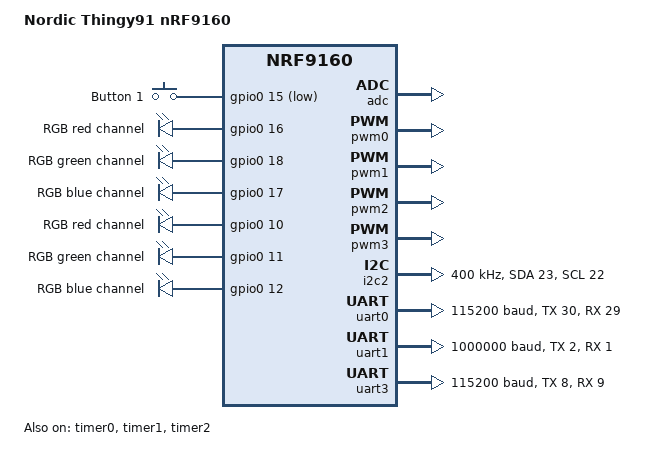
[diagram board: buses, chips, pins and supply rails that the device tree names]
/*
 * Copyright (c) 2019 Nordic Semiconductor ASA
 *
 * SPDX-License-Identifier: LicenseRef-BSD-5-Clause-Nordic
 */

/ {
	model = "Nordic Thingy91 nRF9160";
	compatible = "nordic,thingy91-nrf9160";

	chosen {
		zephyr,console = &uart0;
		zephyr,shell-uart = &uart0;
		zephyr,uart-mcumgr = &uart0;
	};

	buttons {
		compatible = "gpio-keys";

		button0: button_0 {
			gpios = <&gpio0 15 (GPIO_PULL_UP | GPIO_ACTIVE_LOW)>;
			label = "Button 1";
		};
	};

	leds {
		compatible = "gpio-leds";
		red_led: led_1 {
			gpios = <&gpio0 16 0>;
			label = "RGB red channel";
		};
		green_led: led_2 {
			gpios = <&gpio0 18 0>;
			label = "RGB green channel";
		};
		blue_led: led_3 {
			gpios = <&gpio0 17 0>;
			label = "RGB blue channel";
		};
		sense_red_led: led_4 {
			gpios = <&gpio0 10 0>;
			label = "RGB red channel";
		};
		sense_green_led: led_5 {
			gpios = <&gpio0 11 0>;
			label = "RGB green channel";
		};
		sense_blue_led: led_6 {
			gpios = <&gpio0 12 0>;
			label = "RGB blue channel";
		};
	};

	aliases {
		sw0 = &button0;
		led0 = &red_led;
		led1 = &green_led;
		led2 = &blue_led;
		sense-led0 = &sense_red_led;
		sense-led1 = &sense_green_led;
		sense-led2 = &sense_blue_led;
		rgb-pwm = &pwm0;
		buzzer-pwm = &pwm1;
		nmos-pwm = &pwm2;
	};
};

&adc {
	status = "okay";
};

&gpiote {
	status = "okay";
};

&gpio0 {
	status = "okay";
};

/* PWM0 is intended for RGB LED control */
&pwm0 {
	status = "okay";
	ch0-pin = <16>;
	ch1-pin = <17>;
	ch2-pin = <18>;
};

/* PWM1 is intended for buzzer control */
&pwm1 {
	status = "okay";
	ch0-pin = <26>;
};

/* PWM2 is intended for NMOS transistor control */
&pwm2 {
	status = "okay";
};

&pwm3 {
	status = "okay";
};
&i2c1 {
	compatible = "nordic,nrf-twim";
	status = "disabled";
	sda-pin = <27>;
	scl-pin = <28>;
};

&i2c2{
	compatible = "nordic,nrf-twim";
	status = "okay";
	sda-pin = <23>;
	scl-pin = <22>;
                clock-frequency = <I2C_BITRATE_FAST>;

};

&i2c3 {
	compatible = "nordic,nrf-twim";
	status = "disabled";
	sda-pin = <14>;
	scl-pin = <20>;
	clock-frequency = <I2C_BITRATE_FAST>;
};
&spi3 {
	compatible = "nordic,nrf-spim";
	status = "disabled";
};

&timer0 {
	status = "okay";
};

&timer1 {
	status = "okay";
};

&timer2 {
	status = "okay";
};

&uart0 {
	compatible = "nordic,nrf-uarte";
	current-speed = <115200>;
	status = "okay";
	tx-pin = <30>;
	rx-pin = <29>;
	rts-pin = <31>;
	cts-pin = <00>;
};

&uart1 {
	current-speed = <1000000>;
	status = "okay";
	tx-pin = <02>;
	rx-pin = <01>;
	rts-pin = <03>;
	cts-pin = <04>;
};

&uart3 {
	current-speed = <115200>;
	status = "okay";
	tx-pin = <8>;
	rx-pin = <9>;
};


&flash0 {
	/*
	 * For more information, see:
	 * http://docs.zephyrproject.org/devices/dts/flash_partitions.html
	 */
	partitions {
		compatible = "fixed-partitions";
		#address-cells = <1>;
		#size-cells = <1>;

		boot_partition: partition@0 {
			label = "mcuboot";
			reg = <0x00000000 0x10000>;
		};
		slot0_partition: partition@10000 {
			label = "image-0";
		};
		slot0_ns_partition: partition@40000 {
			label = "image-0-nonsecure";
		};
		slot1_partition: partition@80000 {
			label = "image-1";
		};
		slot1_ns_partition: partition@b0000 {
			label = "image-1-nonsecure";
		};
		scratch_partition: partition@f0000 {
			label = "image-scratch";
			reg = <0x000f0000 0xa000>;
		};
		storage_partition: partition@fa000 {
			label = "storage";
			reg = <0x000fa000 0x00006000>;
		};
	};
};

/ {

	reserved-memory {
		#address-cells = <1>;
		#size-cells = <1>;
		ranges;

		sram0_s: image_s@20000000 {
			/* Secure image memory */
		};

		sram0_bsd: image_bsd@20010000 {
			/* BSD (shared) memory */
		};

		sram0_ns: image_ns@20020000 {
			/* Non-Secure image memory */
		};
	};
};

/* Include partition configuration file */
#include "iotex_pebble_hw30_partition_conf.dts"
